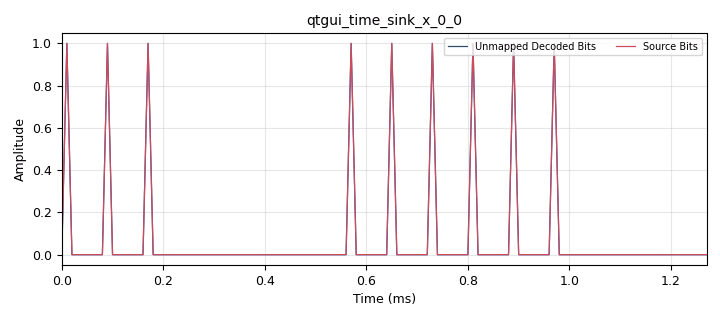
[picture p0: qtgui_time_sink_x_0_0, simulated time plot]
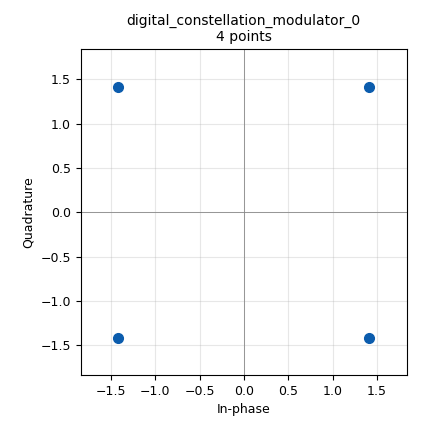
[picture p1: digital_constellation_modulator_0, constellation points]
options:
  parameters:
    author: mrc
    generate_options: qt_gui
    id: QPSK
    output_language: python
    title: QPSK-TX
  states: {}

blocks:
- name: Alpha
  id: variable
  parameters:
    value: '0.22'
  states: {}
- name: const
  id: variable_constellation
  parameters:
    precision: '8'
    type: qpsk
  states: {}
- name: nfilts
  id: variable
  parameters:
    value: '32'
  states: {}
- name: samp_rate
  id: variable
  parameters:
    value: '100000'
  states: {}
- name: sps
  id: variable
  parameters:
    value: '4'
  states: {}
- name: blocks_char_to_float_0_0_0
  id: blocks_char_to_float
  parameters:
    scale: '1'
  states: {}
- name: blocks_throttle2_0
  id: blocks_throttle2
  parameters:
    samples_per_second: samp_rate
    type: complex
  states: {}
- name: blocks_unpack_k_bits_bb_0_0
  id: blocks_unpack_k_bits_bb
  parameters:
    k: '8'
  states: {}
- name: blocks_vector_source_x_0
  id: blocks_vector_source_x
  parameters:
    repeat: 'True'
    type: byte
    vector: (1, 1, 1, 1 ,1 , 1, 0, 0, 0, 0)
  states: {}
- name: digital_constellation_modulator_0
  id: digital_constellation_modulator
  parameters:
    constellation: const
    differential: 'True'
    excess_bw: Alpha
    samples_per_symbol: sps
  states: {}
- name: iio_pluto_sink_0
  id: iio_pluto_sink
  parameters:
    attenuation1: '10.0'
    bandwidth: '20000000'
    buffer_size: '32768'
    cyclic: 'False'
    filter_source: '''Auto'''
    frequency: '915000000'
    samplerate: samp_rate
    type: fc32
    uri: ip:192.168.2.1
  states: {}
- name: qtgui_time_sink_x_0_0
  id: qtgui_time_sink_x
  parameters:
    autoscale: 'True'
    color1: dark blue
    comment: 1,0,1,4
    ctrlpanel: 'True'
    gui_hint: 1,0,1,3
    label1: Unmapped Decoded Bits
    label2: Source Bits
    name: ''
    nconnections: '2'
    size: '128'
    srate: samp_rate
    tr_mode: qtgui.TRIG_MODE_AUTO
    type: float
    ymax: '2'
    ymin: '-2'
  states: {}

connections:
- [blocks_char_to_float_0_0_0, '0', qtgui_time_sink_x_0_0, '0']
- [blocks_char_to_float_0_0_0, '0', qtgui_time_sink_x_0_0, '1']
- [blocks_throttle2_0, '0', iio_pluto_sink_0, '0']
- [blocks_unpack_k_bits_bb_0_0, '0', blocks_char_to_float_0_0_0, '0']
- [blocks_vector_source_x_0, '0', blocks_unpack_k_bits_bb_0_0, '0']
- [blocks_vector_source_x_0, '0', digital_constellation_modulator_0, '0']
- [digital_constellation_modulator_0, '0', blocks_throttle2_0, '0']

metadata:
  file_format: 1
  grc_version: 3.10.12.0
